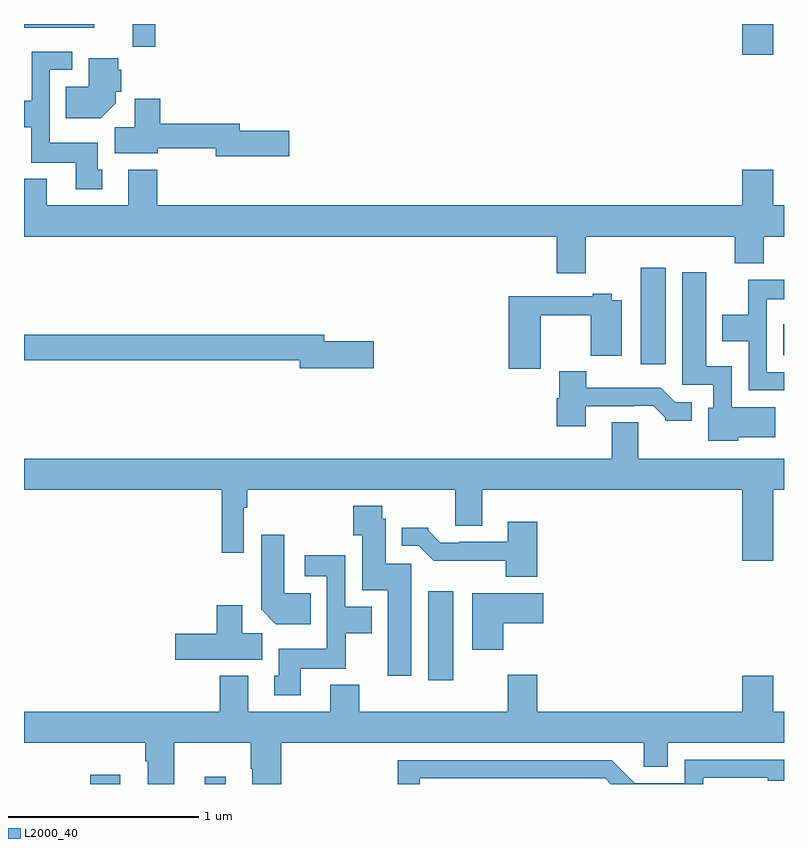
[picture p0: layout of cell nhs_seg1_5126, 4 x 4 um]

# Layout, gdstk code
import gdstk
lib = gdstk.Library(unit=1e-6, precision=1e-09)
def R(c, l, rs):  # rectangles x0, y0, x1, y1
    for r in rs: c.add(gdstk.rectangle(r[:2], r[2:], *l))
def P(c, l, *ps):  # polygons
    for p in ps: c.add(gdstk.Polygon(p, *l))
L2000_40 = (2000, 40)

nhs_seg1_5126 = lib.new_cell('nhs_seg1_5126')
R(nhs_seg1_5126, L2000_40, [(389.348,534.199,389.506,534.247), (389.951,534.199,390.061,534.238), (391.127,534.744,391.258,535.213), (392.246,536.409,392.377,536.917), (392.995,536.456,393,536.62), (392.78,538.038,392.944,538.199), (389.573,538.08,389.69,538.199), (389,538.178,389.371,538.199)])
P(nhs_seg1_5126, L2000_40, [(389.413,537.432),(389.389,537.432),(389.389,537.574),(389.136,537.574),(389.136,537.957),(389.254,537.957),(389.254,538.053),(389.04,538.053),(389.04,537.796),(389,537.796),(389,537.656),(389.038,537.656),(389.038,537.47),(389.273,537.47),(389.273,537.33),(389.413,537.33)],
  [(389.482,537.782),(389.482,537.843),(389.511,537.843),(389.511,537.957),(389.495,537.957),(389.495,538.018),(389.342,538.018),(389.342,537.868),(389.221,537.868),(389.221,537.704),(389.404,537.704)],
  [(390.397,537.638),(390.136,537.638),(390.136,537.674),(389.717,537.674),(389.717,537.805),(389.583,537.805),(389.583,537.656),(389.477,537.656),(389.477,537.518),(389.704,537.518),(389.704,537.546),(390.008,537.546),(390.008,537.503),(390.397,537.503)],
  [(389.702,537.433),(389.549,537.433),(389.549,537.244),(389.119,537.244),(389.119,537.385),(389,537.385),(389,537.08),(391.805,537.08),(391.805,536.886),(391.957,536.886),(391.957,537.08),(392.741,537.08),(392.741,536.939),(392.893,536.939),(392.893,537.08),(393,537.08),(393,537.244),(392.944,537.244),(392.944,537.433),(392.78,537.433),(392.78,537.244),(389.702,537.244)],
  [(392.76,536.024),(392.953,536.024),(392.953,536.182),(392.724,536.182),(392.724,536.398),(392.59,536.398),(392.59,536.893),(392.465,536.893),(392.465,536.301),(392.628,536.301),(392.628,536.178),(392.6,536.178),(392.6,536.006),(392.76,536.006)],
  [(393,536.367),(392.91,536.367),(392.91,536.75),(393,536.75),(393,536.854),(392.812,536.854),(392.812,536.668),(392.675,536.668),(392.675,536.528),(392.814,536.528),(392.814,536.271),(393,536.271)],
  [(391.72,536.665),(391.984,536.665),(391.984,536.453),(392.146,536.453),(392.146,536.746),(392.094,536.746),(392.094,536.779),(391.994,536.779),(391.994,536.766),(391.55,536.766),(391.55,536.385),(391.72,536.385)],
  [(390.841,536.528),(390.58,536.528),(390.58,536.564),(389,536.564),(389,536.428),(390.452,536.428),(390.452,536.386),(390.841,536.386)],
  [(391.957,536.187),(392.213,536.187),(392.213,536.19),(392.312,536.19),(392.376,536.126),(392.376,536.111),(392.515,536.111),(392.515,536.208),(392.427,536.208),(392.351,536.284),(391.96,536.284),(391.96,536.371),(391.817,536.371),(391.817,536.229),(391.805,536.229),(391.805,536.082),(391.957,536.082)],
  [(392.944,535.748),(393,535.748),(393,535.912),(392.233,535.912),(392.233,536.102),(392.093,536.102),(392.093,535.912),(389,535.912),(389,535.748),(390.04,535.748),(390.04,535.416),(390.156,535.416),(390.156,535.652),(390.176,535.652),(390.176,535.748),(391.271,535.748),(391.271,535.558),(391.411,535.558),(391.411,535.748),(392.78,535.748),(392.78,535.374),(392.944,535.374)],
  [(391.039,535.359),(390.904,535.359),(390.904,535.596),(390.885,535.596),(390.885,535.663),(390.733,535.663),(390.733,535.507),(390.779,535.507),(390.779,535.22),(390.914,535.22),(390.914,534.768),(391.039,534.768)],
  [(391.7,535.579),(391.547,535.579),(391.547,535.473),(391.291,535.473),(391.291,535.47),(391.192,535.47),(391.128,535.534),(391.128,535.549),(390.989,535.549),(390.989,535.452),(391.077,535.452),(391.156,535.374),(391.535,535.374),(391.535,535.289),(391.7,535.289)],
  [(390.509,535.204),(390.37,535.204),(390.37,535.51),(390.248,535.51),(390.248,535.118),(390.326,535.04),(390.509,535.04)],
  [(390.457,534.806),(390.693,534.806),(390.693,534.992),(390.829,534.992),(390.829,535.132),(390.69,535.132),(390.69,535.402),(390.477,535.402),(390.477,535.293),(390.594,535.293),(390.594,534.91),(390.341,534.91),(390.341,534.768),(390.317,534.768),(390.317,534.666),(390.457,534.666)],
  [(391.522,535.046),(391.732,535.046),(391.732,535.204),(391.358,535.204),(391.358,534.906),(391.522,534.906)],
  [(390.253,534.992),(390.148,534.992),(390.148,535.141),(390.014,535.141),(390.014,534.989),(389.796,534.989),(389.796,534.854),(390.253,534.854)],
  [(389.791,534.416),(390.193,534.416),(390.193,534.278),(390.2,534.278),(390.2,534.199),(390.353,534.199),(390.353,534.416),(392.262,534.416),(392.262,534.289),(392.389,534.289),(392.389,534.416),(393,534.416),(393,534.58),(392.944,534.58),(392.944,534.769),(392.78,534.769),(392.78,534.58),(391.7,534.58),(391.7,534.775),(391.547,534.775),(391.547,534.58),(390.764,534.58),(390.764,534.721),(390.611,534.721),(390.611,534.58),(390.181,534.58),(390.181,534.769),(390.029,534.769),(390.029,534.58),(389,534.58),(389,534.416),(389.639,534.416),(389.639,534.32),(389.651,534.32),(389.651,534.199),(389.791,534.199)],
  [(391.083,534.228),(392.058,534.228),(392.087,534.199),(392.574,534.199),(392.574,534.231),(392.915,534.231),(392.915,534.216),(393,534.216),(393,534.327),(392.478,534.327),(392.478,534.204),(392.214,534.204),(392.094,534.324),(390.967,534.324),(390.967,534.199),(391.083,534.199)])

lib.write_gds('nhs_seg1_5126.gds')
